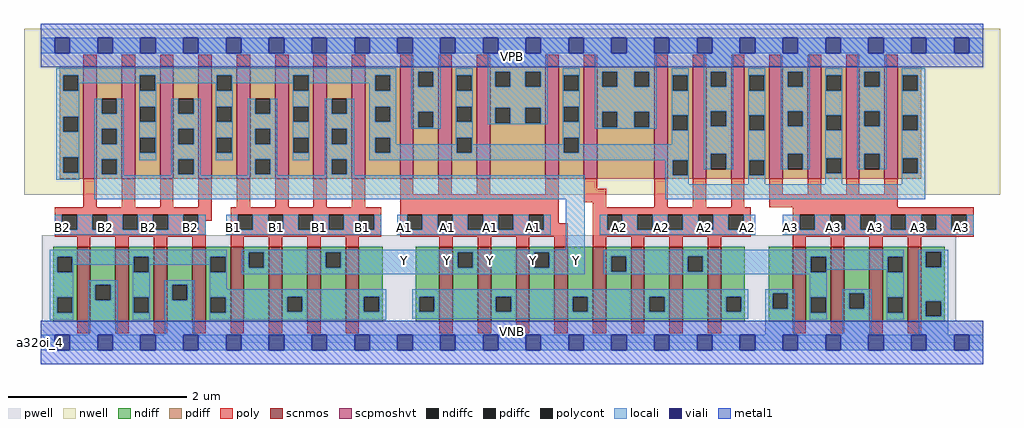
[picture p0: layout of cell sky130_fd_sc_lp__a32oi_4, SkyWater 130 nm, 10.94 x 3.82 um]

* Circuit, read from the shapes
.subckt sky130_fd_sc_lp__a32oi_4 A1 A2 A3 B1 B2 VGND VNB VPB VPWR Y
XM1 VGND B2 n1 VNB sky130_fd_pr__nfet_01v8 w=0.84 l=0.15 m=4
XM2 Y B1 n1 VNB sky130_fd_pr__nfet_01v8 w=0.84 l=0.15 m=4
XM3 Y A1 n2 VNB sky130_fd_pr__nfet_01v8 w=0.84 l=0.15 m=4
XM4 n3 A2 n2 VNB sky130_fd_pr__nfet_01v8 w=0.84 l=0.15 m=4
XM5 n3 A3 VGND VNB sky130_fd_pr__nfet_01v8 w=0.84 l=0.15 m=4
XM6 Y B2 n4 VPB sky130_fd_pr__pfet_01v8_hvt w=1.26 l=0.15 m=4
XM7 Y B1 n4 VPB sky130_fd_pr__pfet_01v8_hvt w=1.26 l=0.15 m=4
XM8 VPWR A1 n4 VPB sky130_fd_pr__pfet_01v8_hvt w=1.26 l=0.15 m=4
XM9 VPWR A2 n4 VPB sky130_fd_pr__pfet_01v8_hvt w=1.26 l=0.15 m=4
XM10 VPWR A3 n4 VPB sky130_fd_pr__pfet_01v8_hvt w=1.26 l=0.15 m=4
.ends

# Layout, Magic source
magic
tech sky130A
magscale 1 2
<< nwell >>
rect -38 331 2150 704
<< pwell >>
rect 2 49 2052 241
rect 0 0 2112 49
<< scnmos >>
rect 81 47 111 215
rect 167 47 197 215
rect 253 47 283 215
rect 339 47 369 215
rect 425 47 455 215
rect 511 47 541 215
rect 597 47 627 215
rect 683 47 713 215
rect 893 47 923 215
rect 979 47 1009 215
rect 1065 47 1095 215
rect 1151 47 1181 215
rect 1237 47 1267 215
rect 1323 47 1353 215
rect 1409 47 1439 215
rect 1495 47 1525 215
rect 1685 47 1715 215
rect 1771 47 1801 215
rect 1857 47 1887 215
rect 1943 47 1973 215
<< scpmoshvt >>
rect 95 367 125 619
rect 181 367 211 619
rect 267 367 297 619
rect 353 367 383 619
rect 439 367 469 619
rect 525 367 555 619
rect 611 367 641 619
rect 697 367 727 619
rect 805 367 835 619
rect 891 367 921 619
rect 977 367 1007 619
rect 1131 367 1161 619
rect 1217 367 1247 619
rect 1375 367 1405 619
rect 1461 367 1491 619
rect 1547 367 1577 619
rect 1633 367 1663 619
rect 1719 367 1749 619
rect 1805 367 1835 619
rect 1891 367 1921 619
<< ndiff >>
rect 28 192 81 215
rect 28 158 36 192
rect 70 158 81 192
rect 28 101 81 158
rect 28 67 36 101
rect 70 67 81 101
rect 28 47 81 67
rect 111 129 167 215
rect 111 95 122 129
rect 156 95 167 129
rect 111 47 167 95
rect 197 192 253 215
rect 197 158 208 192
rect 242 158 253 192
rect 197 101 253 158
rect 197 67 208 101
rect 242 67 253 101
rect 197 47 253 67
rect 283 129 339 215
rect 283 95 294 129
rect 328 95 339 129
rect 283 47 339 95
rect 369 192 425 215
rect 369 158 380 192
rect 414 158 425 192
rect 369 101 425 158
rect 369 67 380 101
rect 414 67 425 101
rect 369 47 425 67
rect 455 202 511 215
rect 455 168 466 202
rect 500 168 511 202
rect 455 47 511 168
rect 541 103 597 215
rect 541 69 552 103
rect 586 69 597 103
rect 541 47 597 69
rect 627 202 683 215
rect 627 168 638 202
rect 672 168 683 202
rect 627 47 683 168
rect 713 103 766 215
rect 713 69 724 103
rect 758 69 766 103
rect 713 47 766 69
rect 840 103 893 215
rect 840 69 848 103
rect 882 69 893 103
rect 840 47 893 69
rect 923 202 979 215
rect 923 168 934 202
rect 968 168 979 202
rect 923 47 979 168
rect 1009 103 1065 215
rect 1009 69 1020 103
rect 1054 69 1065 103
rect 1009 47 1065 69
rect 1095 202 1151 215
rect 1095 168 1106 202
rect 1140 168 1151 202
rect 1095 47 1151 168
rect 1181 103 1237 215
rect 1181 69 1192 103
rect 1226 69 1237 103
rect 1181 47 1237 69
rect 1267 193 1323 215
rect 1267 159 1278 193
rect 1312 159 1323 193
rect 1267 47 1323 159
rect 1353 103 1409 215
rect 1353 69 1364 103
rect 1398 69 1409 103
rect 1353 47 1409 69
rect 1439 193 1495 215
rect 1439 159 1450 193
rect 1484 159 1495 193
rect 1439 47 1495 159
rect 1525 103 1578 215
rect 1525 69 1536 103
rect 1570 69 1578 103
rect 1525 47 1578 69
rect 1632 110 1685 215
rect 1632 76 1640 110
rect 1674 76 1685 110
rect 1632 47 1685 76
rect 1715 192 1771 215
rect 1715 158 1726 192
rect 1760 158 1771 192
rect 1715 101 1771 158
rect 1715 67 1726 101
rect 1760 67 1771 101
rect 1715 47 1771 67
rect 1801 110 1857 215
rect 1801 76 1812 110
rect 1846 76 1857 110
rect 1801 47 1857 76
rect 1887 192 1943 215
rect 1887 158 1898 192
rect 1932 158 1943 192
rect 1887 101 1943 158
rect 1887 67 1898 101
rect 1932 67 1943 101
rect 1887 47 1943 67
rect 1973 203 2026 215
rect 1973 169 1984 203
rect 2018 169 2026 203
rect 1973 93 2026 169
rect 1973 59 1984 93
rect 2018 59 2026 93
rect 1973 47 2026 59
<< pdiff >>
rect 42 599 95 619
rect 42 565 50 599
rect 84 565 95 599
rect 42 506 95 565
rect 42 472 50 506
rect 84 472 95 506
rect 42 415 95 472
rect 42 381 50 415
rect 84 381 95 415
rect 42 367 95 381
rect 125 547 181 619
rect 125 513 136 547
rect 170 513 181 547
rect 125 479 181 513
rect 125 445 136 479
rect 170 445 181 479
rect 125 411 181 445
rect 125 377 136 411
rect 170 377 181 411
rect 125 367 181 377
rect 211 599 267 619
rect 211 565 222 599
rect 256 565 267 599
rect 211 529 267 565
rect 211 495 222 529
rect 256 495 267 529
rect 211 459 267 495
rect 211 425 222 459
rect 256 425 267 459
rect 211 367 267 425
rect 297 547 353 619
rect 297 513 308 547
rect 342 513 353 547
rect 297 479 353 513
rect 297 445 308 479
rect 342 445 353 479
rect 297 411 353 445
rect 297 377 308 411
rect 342 377 353 411
rect 297 367 353 377
rect 383 599 439 619
rect 383 565 394 599
rect 428 565 439 599
rect 383 529 439 565
rect 383 495 394 529
rect 428 495 439 529
rect 383 459 439 495
rect 383 425 394 459
rect 428 425 439 459
rect 383 367 439 425
rect 469 547 525 619
rect 469 513 480 547
rect 514 513 525 547
rect 469 479 525 513
rect 469 445 480 479
rect 514 445 525 479
rect 469 411 525 445
rect 469 377 480 411
rect 514 377 525 411
rect 469 367 525 377
rect 555 599 611 619
rect 555 565 566 599
rect 600 565 611 599
rect 555 529 611 565
rect 555 495 566 529
rect 600 495 611 529
rect 555 459 611 495
rect 555 425 566 459
rect 600 425 611 459
rect 555 367 611 425
rect 641 547 697 619
rect 641 513 652 547
rect 686 513 697 547
rect 641 479 697 513
rect 641 445 652 479
rect 686 445 697 479
rect 641 411 697 445
rect 641 377 652 411
rect 686 377 697 411
rect 641 367 697 377
rect 727 599 805 619
rect 727 565 749 599
rect 783 565 805 599
rect 727 529 805 565
rect 727 495 749 529
rect 783 495 805 529
rect 727 459 805 495
rect 727 425 749 459
rect 783 425 805 459
rect 727 367 805 425
rect 835 607 891 619
rect 835 573 846 607
rect 880 573 891 607
rect 835 517 891 573
rect 835 483 846 517
rect 880 483 891 517
rect 835 367 891 483
rect 921 599 977 619
rect 921 565 932 599
rect 966 565 977 599
rect 921 529 977 565
rect 921 495 932 529
rect 966 495 977 529
rect 921 459 977 495
rect 921 425 932 459
rect 966 425 977 459
rect 921 367 977 425
rect 1007 607 1131 619
rect 1007 573 1018 607
rect 1052 573 1086 607
rect 1120 573 1131 607
rect 1007 526 1131 573
rect 1007 492 1018 526
rect 1052 492 1086 526
rect 1120 492 1131 526
rect 1007 367 1131 492
rect 1161 599 1217 619
rect 1161 565 1172 599
rect 1206 565 1217 599
rect 1161 529 1217 565
rect 1161 495 1172 529
rect 1206 495 1217 529
rect 1161 459 1217 495
rect 1161 425 1172 459
rect 1206 425 1217 459
rect 1161 367 1217 425
rect 1247 607 1375 619
rect 1247 573 1258 607
rect 1292 573 1330 607
rect 1364 573 1375 607
rect 1247 517 1375 573
rect 1247 483 1258 517
rect 1292 483 1330 517
rect 1364 483 1375 517
rect 1247 367 1375 483
rect 1405 599 1461 619
rect 1405 565 1416 599
rect 1450 565 1461 599
rect 1405 510 1461 565
rect 1405 476 1416 510
rect 1450 476 1461 510
rect 1405 409 1461 476
rect 1405 375 1416 409
rect 1450 375 1461 409
rect 1405 367 1461 375
rect 1491 607 1547 619
rect 1491 573 1502 607
rect 1536 573 1547 607
rect 1491 519 1547 573
rect 1491 485 1502 519
rect 1536 485 1547 519
rect 1491 423 1547 485
rect 1491 389 1502 423
rect 1536 389 1547 423
rect 1491 367 1547 389
rect 1577 599 1633 619
rect 1577 565 1588 599
rect 1622 565 1633 599
rect 1577 510 1633 565
rect 1577 476 1588 510
rect 1622 476 1633 510
rect 1577 409 1633 476
rect 1577 375 1588 409
rect 1622 375 1633 409
rect 1577 367 1633 375
rect 1663 607 1719 619
rect 1663 573 1674 607
rect 1708 573 1719 607
rect 1663 519 1719 573
rect 1663 485 1674 519
rect 1708 485 1719 519
rect 1663 423 1719 485
rect 1663 389 1674 423
rect 1708 389 1719 423
rect 1663 367 1719 389
rect 1749 599 1805 619
rect 1749 565 1760 599
rect 1794 565 1805 599
rect 1749 510 1805 565
rect 1749 476 1760 510
rect 1794 476 1805 510
rect 1749 413 1805 476
rect 1749 379 1760 413
rect 1794 379 1805 413
rect 1749 367 1805 379
rect 1835 607 1891 619
rect 1835 573 1846 607
rect 1880 573 1891 607
rect 1835 519 1891 573
rect 1835 485 1846 519
rect 1880 485 1891 519
rect 1835 423 1891 485
rect 1835 389 1846 423
rect 1880 389 1891 423
rect 1835 367 1891 389
rect 1921 599 1974 619
rect 1921 565 1932 599
rect 1966 565 1974 599
rect 1921 510 1974 565
rect 1921 476 1932 510
rect 1966 476 1974 510
rect 1921 413 1974 476
rect 1921 379 1932 413
rect 1966 379 1974 413
rect 1921 367 1974 379
<< ndiffc >>
rect 36 158 70 192
rect 36 67 70 101
rect 122 95 156 129
rect 208 158 242 192
rect 208 67 242 101
rect 294 95 328 129
rect 380 158 414 192
rect 380 67 414 101
rect 466 168 500 202
rect 552 69 586 103
rect 638 168 672 202
rect 724 69 758 103
rect 848 69 882 103
rect 934 168 968 202
rect 1020 69 1054 103
rect 1106 168 1140 202
rect 1192 69 1226 103
rect 1278 159 1312 193
rect 1364 69 1398 103
rect 1450 159 1484 193
rect 1536 69 1570 103
rect 1640 76 1674 110
rect 1726 158 1760 192
rect 1726 67 1760 101
rect 1812 76 1846 110
rect 1898 158 1932 192
rect 1898 67 1932 101
rect 1984 169 2018 203
rect 1984 59 2018 93
<< pdiffc >>
rect 50 565 84 599
rect 50 472 84 506
rect 50 381 84 415
rect 136 513 170 547
rect 136 445 170 479
rect 136 377 170 411
rect 222 565 256 599
rect 222 495 256 529
rect 222 425 256 459
rect 308 513 342 547
rect 308 445 342 479
rect 308 377 342 411
rect 394 565 428 599
rect 394 495 428 529
rect 394 425 428 459
rect 480 513 514 547
rect 480 445 514 479
rect 480 377 514 411
rect 566 565 600 599
rect 566 495 600 529
rect 566 425 600 459
rect 652 513 686 547
rect 652 445 686 479
rect 652 377 686 411
rect 749 565 783 599
rect 749 495 783 529
rect 749 425 783 459
rect 846 573 880 607
rect 846 483 880 517
rect 932 565 966 599
rect 932 495 966 529
rect 932 425 966 459
rect 1018 573 1052 607
rect 1086 573 1120 607
rect 1018 492 1052 526
rect 1086 492 1120 526
rect 1172 565 1206 599
rect 1172 495 1206 529
rect 1172 425 1206 459
rect 1258 573 1292 607
rect 1330 573 1364 607
rect 1258 483 1292 517
rect 1330 483 1364 517
rect 1416 565 1450 599
rect 1416 476 1450 510
rect 1416 375 1450 409
rect 1502 573 1536 607
rect 1502 485 1536 519
rect 1502 389 1536 423
rect 1588 565 1622 599
rect 1588 476 1622 510
rect 1588 375 1622 409
rect 1674 573 1708 607
rect 1674 485 1708 519
rect 1674 389 1708 423
rect 1760 565 1794 599
rect 1760 476 1794 510
rect 1760 379 1794 413
rect 1846 573 1880 607
rect 1846 485 1880 519
rect 1846 389 1880 423
rect 1932 565 1966 599
rect 1932 476 1966 510
rect 1932 379 1966 413
<< poly >>
rect 95 619 125 645
rect 181 619 211 645
rect 267 619 297 645
rect 353 619 383 645
rect 439 619 469 645
rect 525 619 555 645
rect 611 619 641 645
rect 697 619 727 645
rect 805 619 835 645
rect 891 619 921 645
rect 977 619 1007 645
rect 1131 619 1161 645
rect 1217 619 1247 645
rect 1375 619 1405 645
rect 1461 619 1491 645
rect 1547 619 1577 645
rect 1633 619 1663 645
rect 1719 619 1749 645
rect 1805 619 1835 645
rect 1891 619 1921 645
rect 95 303 125 367
rect 181 303 211 367
rect 267 303 297 367
rect 353 303 383 367
rect 439 303 469 367
rect 525 303 555 367
rect 611 303 641 367
rect 697 303 727 367
rect 805 333 835 367
rect 891 333 921 367
rect 977 333 1007 367
rect 1131 333 1161 367
rect 31 287 383 303
rect 31 253 47 287
rect 81 253 115 287
rect 149 253 183 287
rect 217 253 251 287
rect 285 253 319 287
rect 353 273 383 287
rect 425 287 763 303
rect 353 253 369 273
rect 31 237 369 253
rect 81 215 111 237
rect 167 215 197 237
rect 253 215 283 237
rect 339 215 369 237
rect 425 253 441 287
rect 475 253 509 287
rect 543 253 577 287
rect 611 253 645 287
rect 679 253 713 287
rect 747 253 763 287
rect 425 237 763 253
rect 805 287 1161 333
rect 1217 345 1247 367
rect 1217 315 1267 345
rect 805 253 821 287
rect 855 253 889 287
rect 923 253 957 287
rect 991 253 1025 287
rect 1059 253 1093 287
rect 1127 267 1161 287
rect 1237 303 1267 315
rect 1375 303 1405 367
rect 1461 303 1491 367
rect 1547 303 1577 367
rect 1633 333 1663 367
rect 1719 333 1749 367
rect 1805 333 1835 367
rect 1891 333 1921 367
rect 1633 303 1921 333
rect 1237 287 1591 303
rect 1127 253 1181 267
rect 805 237 1181 253
rect 425 215 455 237
rect 511 215 541 237
rect 597 215 627 237
rect 683 215 713 237
rect 893 215 923 237
rect 979 215 1009 237
rect 1065 215 1095 237
rect 1151 215 1181 237
rect 1237 253 1269 287
rect 1303 253 1337 287
rect 1371 253 1405 287
rect 1439 253 1473 287
rect 1507 253 1541 287
rect 1575 253 1591 287
rect 1237 237 1591 253
rect 1685 287 2091 303
rect 1685 253 1701 287
rect 1735 253 1769 287
rect 1803 253 1837 287
rect 1871 253 1905 287
rect 1939 253 1973 287
rect 2007 253 2041 287
rect 2075 253 2091 287
rect 1685 237 2091 253
rect 1237 215 1267 237
rect 1323 215 1353 237
rect 1409 215 1439 237
rect 1495 215 1525 237
rect 1685 215 1715 237
rect 1771 215 1801 237
rect 1857 215 1887 237
rect 1943 215 1973 237
rect 81 21 111 47
rect 167 21 197 47
rect 253 21 283 47
rect 339 21 369 47
rect 425 21 455 47
rect 511 21 541 47
rect 597 21 627 47
rect 683 21 713 47
rect 893 21 923 47
rect 979 21 1009 47
rect 1065 21 1095 47
rect 1151 21 1181 47
rect 1237 21 1267 47
rect 1323 21 1353 47
rect 1409 21 1439 47
rect 1495 21 1525 47
rect 1685 21 1715 47
rect 1771 21 1801 47
rect 1857 21 1887 47
rect 1943 21 1973 47
<< polycont >>
rect 47 253 81 287
rect 115 253 149 287
rect 183 253 217 287
rect 251 253 285 287
rect 319 253 353 287
rect 441 253 475 287
rect 509 253 543 287
rect 577 253 611 287
rect 645 253 679 287
rect 713 253 747 287
rect 821 253 855 287
rect 889 253 923 287
rect 957 253 991 287
rect 1025 253 1059 287
rect 1093 253 1127 287
rect 1269 253 1303 287
rect 1337 253 1371 287
rect 1405 253 1439 287
rect 1473 253 1507 287
rect 1541 253 1575 287
rect 1701 253 1735 287
rect 1769 253 1803 287
rect 1837 253 1871 287
rect 1905 253 1939 287
rect 1973 253 2007 287
rect 2041 253 2075 287
<< locali >>
rect 0 649 31 683
rect 65 649 127 683
rect 161 649 223 683
rect 257 649 319 683
rect 353 649 415 683
rect 449 649 511 683
rect 545 649 607 683
rect 641 649 703 683
rect 737 649 799 683
rect 833 649 895 683
rect 929 649 991 683
rect 1025 649 1087 683
rect 1121 649 1183 683
rect 1217 649 1279 683
rect 1313 649 1375 683
rect 1409 649 1471 683
rect 1505 649 1567 683
rect 1601 649 1663 683
rect 1697 649 1759 683
rect 1793 649 1855 683
rect 1889 649 1951 683
rect 1985 649 2047 683
rect 2081 649 2112 683
rect 34 599 796 615
rect 34 565 50 599
rect 84 581 222 599
rect 84 565 86 581
rect 34 506 86 565
rect 220 565 222 581
rect 256 581 394 599
rect 256 565 258 581
rect 34 472 50 506
rect 84 472 86 506
rect 34 415 86 472
rect 34 381 50 415
rect 84 381 86 415
rect 34 365 86 381
rect 120 513 136 547
rect 170 513 186 547
rect 120 479 186 513
rect 120 445 136 479
rect 170 445 186 479
rect 120 411 186 445
rect 120 377 136 411
rect 170 377 186 411
rect 220 529 258 565
rect 392 565 394 581
rect 428 581 566 599
rect 428 565 430 581
rect 220 495 222 529
rect 256 495 258 529
rect 220 459 258 495
rect 220 425 222 459
rect 256 425 258 459
rect 220 409 258 425
rect 292 513 308 547
rect 342 513 358 547
rect 292 479 358 513
rect 292 445 308 479
rect 342 445 358 479
rect 292 411 358 445
rect 120 375 186 377
rect 292 377 308 411
rect 342 377 358 411
rect 392 529 430 565
rect 564 565 566 581
rect 600 581 749 599
rect 600 565 602 581
rect 392 495 394 529
rect 428 495 430 529
rect 392 459 430 495
rect 392 425 394 459
rect 428 425 430 459
rect 392 409 430 425
rect 464 513 480 547
rect 514 513 530 547
rect 464 479 530 513
rect 464 445 480 479
rect 514 445 530 479
rect 464 411 530 445
rect 292 375 358 377
rect 464 377 480 411
rect 514 377 530 411
rect 564 529 602 565
rect 736 565 749 581
rect 783 565 796 599
rect 564 495 566 529
rect 600 495 602 529
rect 564 459 602 495
rect 564 425 566 459
rect 600 425 602 459
rect 564 409 602 425
rect 636 513 652 547
rect 686 513 702 547
rect 636 479 702 513
rect 636 445 652 479
rect 686 445 702 479
rect 636 411 702 445
rect 464 375 530 377
rect 636 377 652 411
rect 686 377 702 411
rect 736 529 796 565
rect 736 495 749 529
rect 783 495 796 529
rect 736 459 796 495
rect 830 607 896 649
rect 830 573 846 607
rect 880 573 896 607
rect 830 517 896 573
rect 830 483 846 517
rect 880 483 896 517
rect 830 479 896 483
rect 930 599 968 615
rect 930 565 932 599
rect 966 565 968 599
rect 930 529 968 565
rect 930 495 932 529
rect 966 495 968 529
rect 736 425 749 459
rect 783 445 796 459
rect 930 459 968 495
rect 1002 607 1136 649
rect 1002 573 1018 607
rect 1052 573 1086 607
rect 1120 573 1136 607
rect 1002 526 1136 573
rect 1002 492 1018 526
rect 1052 492 1086 526
rect 1120 492 1136 526
rect 1002 489 1136 492
rect 1170 599 1208 615
rect 1170 565 1172 599
rect 1206 565 1208 599
rect 1170 529 1208 565
rect 1170 495 1172 529
rect 1206 495 1208 529
rect 930 445 932 459
rect 783 425 932 445
rect 966 445 968 459
rect 1170 459 1208 495
rect 1242 607 1380 649
rect 1242 573 1258 607
rect 1292 573 1330 607
rect 1364 573 1380 607
rect 1242 517 1380 573
rect 1242 483 1258 517
rect 1292 483 1330 517
rect 1364 483 1380 517
rect 1242 479 1380 483
rect 1414 599 1452 615
rect 1414 565 1416 599
rect 1450 565 1452 599
rect 1414 510 1452 565
rect 1170 445 1172 459
rect 966 425 1172 445
rect 1206 445 1208 459
rect 1414 476 1416 510
rect 1450 476 1452 510
rect 1414 445 1452 476
rect 1206 425 1452 445
rect 736 409 1452 425
rect 636 375 702 377
rect 1400 375 1416 409
rect 1450 375 1452 409
rect 1486 607 1552 649
rect 1486 573 1502 607
rect 1536 573 1552 607
rect 1486 519 1552 573
rect 1486 485 1502 519
rect 1536 485 1552 519
rect 1486 423 1552 485
rect 1486 389 1502 423
rect 1536 389 1552 423
rect 1586 599 1624 615
rect 1586 565 1588 599
rect 1622 565 1624 599
rect 1586 510 1624 565
rect 1586 476 1588 510
rect 1622 476 1624 510
rect 1586 409 1624 476
rect 120 321 1219 375
rect 1400 355 1452 375
rect 1586 375 1588 409
rect 1622 375 1624 409
rect 1658 607 1724 649
rect 1658 573 1674 607
rect 1708 573 1724 607
rect 1658 519 1724 573
rect 1658 485 1674 519
rect 1708 485 1724 519
rect 1658 423 1724 485
rect 1658 389 1674 423
rect 1708 389 1724 423
rect 1758 599 1796 615
rect 1758 565 1760 599
rect 1794 565 1796 599
rect 1758 510 1796 565
rect 1758 476 1760 510
rect 1794 476 1796 510
rect 1758 413 1796 476
rect 1586 355 1624 375
rect 1758 379 1760 413
rect 1794 379 1796 413
rect 1830 607 1896 649
rect 1830 573 1846 607
rect 1880 573 1896 607
rect 1830 519 1896 573
rect 1830 485 1846 519
rect 1880 485 1896 519
rect 1830 423 1896 485
rect 1830 389 1846 423
rect 1880 389 1896 423
rect 1930 599 1982 615
rect 1930 565 1932 599
rect 1966 565 1982 599
rect 1930 510 1982 565
rect 1930 476 1932 510
rect 1966 476 1982 510
rect 1930 413 1982 476
rect 1758 355 1796 379
rect 1930 379 1932 413
rect 1966 379 1982 413
rect 1930 355 1982 379
rect 1400 321 1982 355
rect 31 253 47 287
rect 81 253 115 287
rect 149 253 183 287
rect 217 253 251 287
rect 285 253 319 287
rect 353 253 369 287
rect 31 242 369 253
rect 415 253 441 287
rect 475 253 509 287
rect 543 253 577 287
rect 611 253 645 287
rect 679 253 713 287
rect 747 253 763 287
rect 415 242 763 253
rect 799 253 821 287
rect 855 253 889 287
rect 923 253 957 287
rect 991 253 1025 287
rect 1059 253 1093 287
rect 1127 253 1143 287
rect 799 242 1143 253
rect 1177 208 1219 321
rect 1253 253 1269 287
rect 1303 253 1337 287
rect 1371 253 1405 287
rect 1439 253 1473 287
rect 1507 253 1541 287
rect 1575 253 1601 287
rect 1253 242 1601 253
rect 1663 253 1701 287
rect 1735 253 1769 287
rect 1803 253 1837 287
rect 1871 253 1905 287
rect 1939 253 1973 287
rect 2007 253 2041 287
rect 2075 253 2091 287
rect 1663 242 2091 253
rect 20 192 416 208
rect 20 158 36 192
rect 70 174 208 192
rect 70 158 72 174
rect 20 101 72 158
rect 206 158 208 174
rect 242 174 380 192
rect 242 158 244 174
rect 20 67 36 101
rect 70 67 72 101
rect 20 51 72 67
rect 106 129 172 140
rect 106 95 122 129
rect 156 95 172 129
rect 106 17 172 95
rect 206 101 244 158
rect 378 158 380 174
rect 414 158 416 192
rect 206 67 208 101
rect 242 67 244 101
rect 206 51 244 67
rect 278 129 344 140
rect 278 95 294 129
rect 328 95 344 129
rect 278 17 344 95
rect 378 119 416 158
rect 450 202 1219 208
rect 450 168 466 202
rect 500 168 638 202
rect 672 168 934 202
rect 968 168 1106 202
rect 1140 168 1219 202
rect 450 153 1219 168
rect 1262 193 1934 208
rect 1262 159 1278 193
rect 1312 159 1450 193
rect 1484 192 1934 193
rect 1484 159 1726 192
rect 1262 158 1726 159
rect 1760 163 1898 192
rect 1760 158 1762 163
rect 1262 153 1762 158
rect 378 103 774 119
rect 378 101 552 103
rect 378 67 380 101
rect 414 69 552 101
rect 586 69 724 103
rect 758 69 774 103
rect 414 67 774 69
rect 378 51 774 67
rect 832 103 1586 119
rect 832 69 848 103
rect 882 69 1020 103
rect 1054 69 1192 103
rect 1226 69 1364 103
rect 1398 69 1536 103
rect 1570 69 1586 103
rect 832 53 1586 69
rect 1624 110 1690 119
rect 1624 76 1640 110
rect 1674 76 1690 110
rect 1624 17 1690 76
rect 1724 101 1762 153
rect 1896 158 1898 163
rect 1932 158 1934 192
rect 1724 67 1726 101
rect 1760 67 1762 101
rect 1724 51 1762 67
rect 1796 110 1862 119
rect 1796 76 1812 110
rect 1846 76 1862 110
rect 1796 17 1862 76
rect 1896 101 1934 158
rect 1896 67 1898 101
rect 1932 67 1934 101
rect 1896 51 1934 67
rect 1968 203 2034 208
rect 1968 169 1984 203
rect 2018 169 2034 203
rect 1968 93 2034 169
rect 1968 59 1984 93
rect 2018 59 2034 93
rect 1968 17 2034 59
rect 0 -17 31 17
rect 65 -17 127 17
rect 161 -17 223 17
rect 257 -17 319 17
rect 353 -17 415 17
rect 449 -17 511 17
rect 545 -17 607 17
rect 641 -17 703 17
rect 737 -17 799 17
rect 833 -17 895 17
rect 929 -17 991 17
rect 1025 -17 1087 17
rect 1121 -17 1183 17
rect 1217 -17 1279 17
rect 1313 -17 1375 17
rect 1409 -17 1471 17
rect 1505 -17 1567 17
rect 1601 -17 1663 17
rect 1697 -17 1759 17
rect 1793 -17 1855 17
rect 1889 -17 1951 17
rect 1985 -17 2047 17
rect 2081 -17 2112 17
<< viali >>
rect 31 649 65 683
rect 127 649 161 683
rect 223 649 257 683
rect 319 649 353 683
rect 415 649 449 683
rect 511 649 545 683
rect 607 649 641 683
rect 703 649 737 683
rect 799 649 833 683
rect 895 649 929 683
rect 991 649 1025 683
rect 1087 649 1121 683
rect 1183 649 1217 683
rect 1279 649 1313 683
rect 1375 649 1409 683
rect 1471 649 1505 683
rect 1567 649 1601 683
rect 1663 649 1697 683
rect 1759 649 1793 683
rect 1855 649 1889 683
rect 1951 649 1985 683
rect 2047 649 2081 683
rect 31 -17 65 17
rect 127 -17 161 17
rect 223 -17 257 17
rect 319 -17 353 17
rect 415 -17 449 17
rect 511 -17 545 17
rect 607 -17 641 17
rect 703 -17 737 17
rect 799 -17 833 17
rect 895 -17 929 17
rect 991 -17 1025 17
rect 1087 -17 1121 17
rect 1183 -17 1217 17
rect 1279 -17 1313 17
rect 1375 -17 1409 17
rect 1471 -17 1505 17
rect 1567 -17 1601 17
rect 1663 -17 1697 17
rect 1759 -17 1793 17
rect 1855 -17 1889 17
rect 1951 -17 1985 17
rect 2047 -17 2081 17
<< metal1 >>
rect 0 683 2112 715
rect 0 649 31 683
rect 65 649 127 683
rect 161 649 223 683
rect 257 649 319 683
rect 353 649 415 683
rect 449 649 511 683
rect 545 649 607 683
rect 641 649 703 683
rect 737 649 799 683
rect 833 649 895 683
rect 929 649 991 683
rect 1025 649 1087 683
rect 1121 649 1183 683
rect 1217 649 1279 683
rect 1313 649 1375 683
rect 1409 649 1471 683
rect 1505 649 1567 683
rect 1601 649 1663 683
rect 1697 649 1759 683
rect 1793 649 1855 683
rect 1889 649 1951 683
rect 1985 649 2047 683
rect 2081 649 2112 683
rect 0 617 2112 649
rect 0 17 2112 49
rect 0 -17 31 17
rect 65 -17 127 17
rect 161 -17 223 17
rect 257 -17 319 17
rect 353 -17 415 17
rect 449 -17 511 17
rect 545 -17 607 17
rect 641 -17 703 17
rect 737 -17 799 17
rect 833 -17 895 17
rect 929 -17 991 17
rect 1025 -17 1087 17
rect 1121 -17 1183 17
rect 1217 -17 1279 17
rect 1313 -17 1375 17
rect 1409 -17 1471 17
rect 1505 -17 1567 17
rect 1601 -17 1663 17
rect 1697 -17 1759 17
rect 1793 -17 1855 17
rect 1889 -17 1951 17
rect 1985 -17 2047 17
rect 2081 -17 2112 17
rect 0 -49 2112 -17
<< labels >>
flabel pwell s 0 0 2112 49 0 FreeSans 200 0 0 0 VNB
port 7 nsew ground bidirectional
flabel nwell s 0 617 2112 666 0 FreeSans 200 0 0 0 VPB
port 8 nsew power bidirectional
rlabel comment s 0 0 0 0 4 a32oi_4
flabel metal1 s 0 617 2112 666 0 FreeSans 340 0 0 0 VPWR
port 9 nsew power bidirectional
flabel metal1 s 0 0 2112 49 0 FreeSans 340 0 0 0 VGND
port 6 nsew ground bidirectional
flabel locali s 799 168 833 202 0 FreeSans 340 0 0 0 Y
port 10 nsew signal output
flabel locali s 895 168 929 202 0 FreeSans 340 0 0 0 Y
port 10 nsew signal output
flabel locali s 991 168 1025 202 0 FreeSans 340 0 0 0 Y
port 10 nsew signal output
flabel locali s 1087 168 1121 202 0 FreeSans 340 0 0 0 Y
port 10 nsew signal output
flabel locali s 1183 168 1217 202 0 FreeSans 340 0 0 0 Y
port 10 nsew signal output
flabel locali s 799 242 833 276 0 FreeSans 340 0 0 0 A1
port 1 nsew signal input
flabel locali s 895 242 929 276 0 FreeSans 340 0 0 0 A1
port 1 nsew signal input
flabel locali s 991 242 1025 276 0 FreeSans 340 0 0 0 A1
port 1 nsew signal input
flabel locali s 1087 242 1121 276 0 FreeSans 340 0 0 0 A1
port 1 nsew signal input
flabel locali s 1279 242 1313 276 0 FreeSans 340 0 0 0 A2
port 2 nsew signal input
flabel locali s 1375 242 1409 276 0 FreeSans 340 0 0 0 A2
port 2 nsew signal input
flabel locali s 1471 242 1505 276 0 FreeSans 340 0 0 0 A2
port 2 nsew signal input
flabel locali s 1567 242 1601 276 0 FreeSans 340 0 0 0 A2
port 2 nsew signal input
flabel locali s 1663 242 1697 276 0 FreeSans 340 0 0 0 A3
port 3 nsew signal input
flabel locali s 1759 242 1793 276 0 FreeSans 340 0 0 0 A3
port 3 nsew signal input
flabel locali s 1855 242 1889 276 0 FreeSans 340 0 0 0 A3
port 3 nsew signal input
flabel locali s 1951 242 1985 276 0 FreeSans 340 0 0 0 A3
port 3 nsew signal input
flabel locali s 2047 242 2081 276 0 FreeSans 340 0 0 0 A3
port 3 nsew signal input
flabel locali s 415 242 449 276 0 FreeSans 340 0 0 0 B1
port 4 nsew signal input
flabel locali s 511 242 545 276 0 FreeSans 340 0 0 0 B1
port 4 nsew signal input
flabel locali s 607 242 641 276 0 FreeSans 340 0 0 0 B1
port 4 nsew signal input
flabel locali s 703 242 737 276 0 FreeSans 340 0 0 0 B1
port 4 nsew signal input
flabel locali s 31 242 65 276 0 FreeSans 340 0 0 0 B2
port 5 nsew signal input
flabel locali s 127 242 161 276 0 FreeSans 340 0 0 0 B2
port 5 nsew signal input
flabel locali s 223 242 257 276 0 FreeSans 340 0 0 0 B2
port 5 nsew signal input
flabel locali s 319 242 353 276 0 FreeSans 340 0 0 0 B2
port 5 nsew signal input
<< properties >>
string LEFsite unit
string LEFclass CORE
string FIXED_BBOX 0 0 2112 666
string GDS_FILE $PDKPATH/libs.ref/sky130_fd_sc_lp/gds/sky130_fd_sc_lp.gds
string LEFsymmetry X Y R90
string GDS_END 898886
string GDS_START 880428
<< end >>
